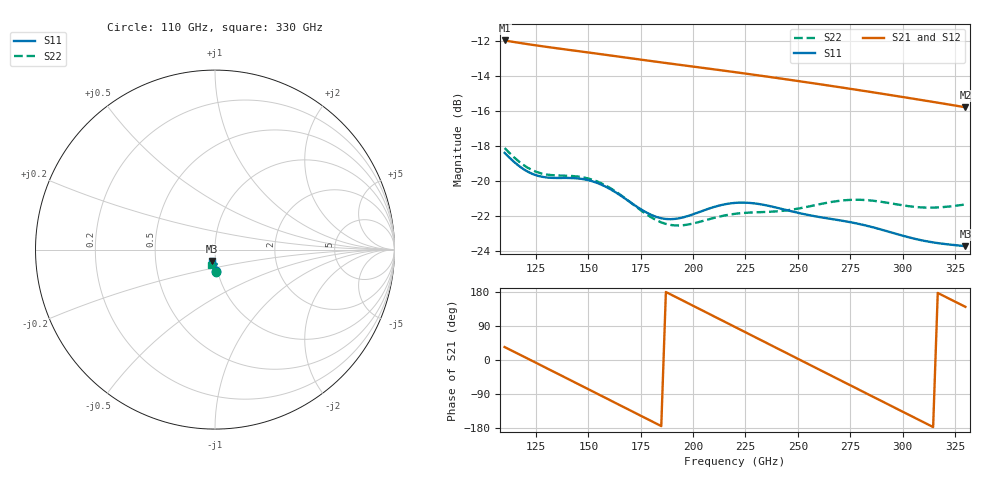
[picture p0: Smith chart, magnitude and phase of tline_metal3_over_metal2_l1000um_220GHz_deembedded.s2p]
! Created with skrf 2.0.1 (http://scikit-rf.org).
# GHz S DB R 50.0
!freq dBS11 angS11 dBS21 angS21 dBS12 angS12 dBS22 angS22
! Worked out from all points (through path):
!   101 points, 110 GHz to 330 GHz, reference 50 ohm
!   highest |S21| = -11.98 dB at 110 GHz (marker M1); lowest = -15.8 dB at 330 GHz (marker M2)
!   group delay of S21, straight-line fit = 7.76 ps
!   lowest |S11| = -23.7 dB at 330 GHz (marker M3), VSWR 1.14, Z = 48.1 - j6.14 ohm
!   |S11| at or under -10 dB: start of sweep to end of sweep
!   |S22| runs from -22.5 to -18.1 dB; largest |S21 - S12| = 3.4e-15
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110  -18.39 -87.2  -11.98 34.2  -11.98 34.2  -18.11 -87.8
118.8  -19.30 -85.8  -12.15 9.8  -12.15 9.8  -19.06 -86.8
127.6  -19.74 -83.5  -12.30 -14.7  -12.30 -14.7  -19.56 -84.7
138.6  -19.82 -83.0  -12.48 -45.3  -12.48 -45.3  -19.69 -84.2
147.4  -19.88 -85.0  -12.62 -69.9  -12.62 -69.9  -19.78 -86.2
156.2  -20.20 -88.1  -12.77 -94.5  -12.77 -94.5  -20.12 -89.4
165  -20.79 -90.5  -12.91 -119.1  -12.91 -119.1  -20.75 -92.0
176  -21.67 -90.4  -13.09 -149.8  -13.09 -149.8  -21.75 -92.2
184.8  -22.11 -87.8  -13.23 -174.4  -13.23 -174.4  -22.35 -89.6
193.6  -22.11 -84.9  -13.37 161.0  -13.37 161.0  -22.52 -86.0
204.6  -21.69 -83.9  -13.54 130.3  -13.54 130.3  -22.27 -83.5
220  -21.24 -88.0  -13.79 87.2  -13.79 87.2  -21.86 -84.3
228.8  -21.26 -91.2  -13.93 62.5  -13.93 62.5  -21.78 -85.5
239.8  -21.51 -94.7  -14.12 31.8  -14.12 31.8  -21.72 -86.5
248.6  -21.76 -96.6  -14.27 7.2  -14.27 7.2  -21.59 -87.2
257.4  -21.98 -97.9  -14.42 -17.4  -14.42 -17.4  -21.39 -88.4
268.4  -22.20 -99.6  -14.62 -48.1  -14.62 -48.1  -21.14 -91.1
277.2  -22.39 -101.2  -14.78 -72.7  -14.78 -72.7  -21.06 -94.0
286  -22.63 -102.6  -14.94 -97.3  -14.94 -97.3  -21.12 -96.9
294.8  -22.93 -103.6  -15.10 -121.8  -15.10 -121.8  -21.27 -99.2
312.4  -23.45 -103.8  -15.44 -170.8  -15.44 -170.8  -21.51 -101.6
330  -23.70 -103.5  -15.79 140.3  -15.79 140.3  -21.33 -104.4
